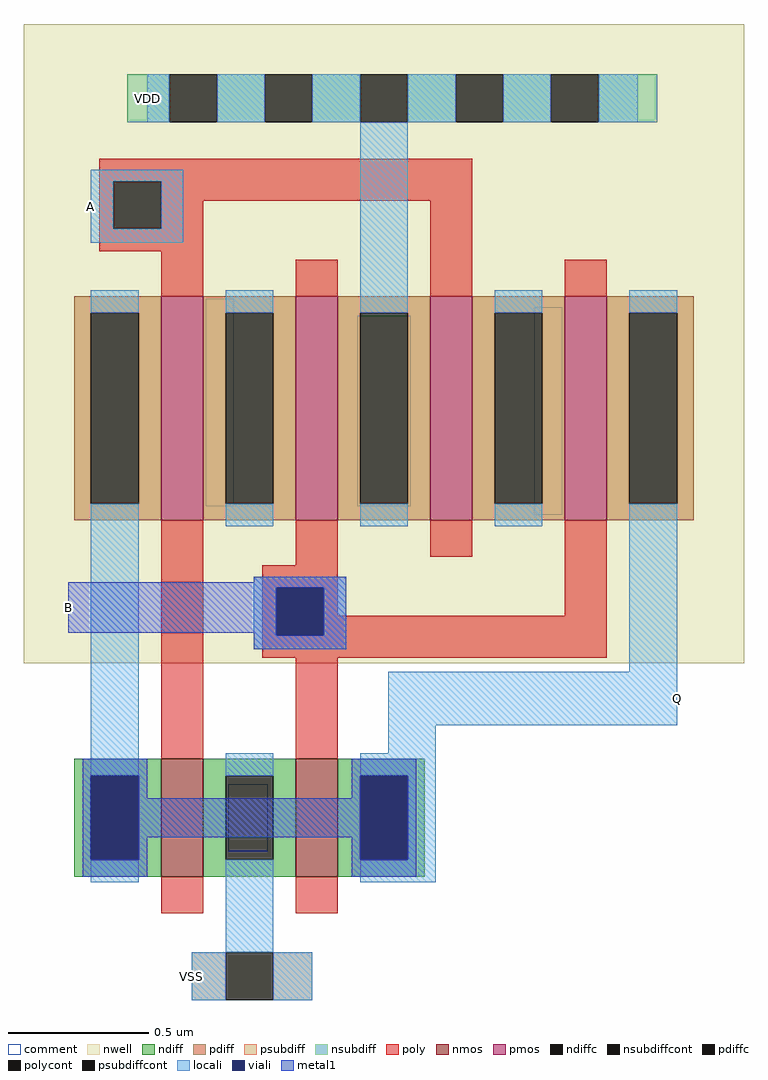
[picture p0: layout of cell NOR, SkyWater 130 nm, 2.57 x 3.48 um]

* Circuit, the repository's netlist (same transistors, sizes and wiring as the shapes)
* NGSPICE file created from NOR.ext - technology: sky130A

.subckt NOR B Q A VDD VSS
X0 a_312_106# A VDD VDD sky130_fd_pr__pfet_01v8 ad=2.64e+11p pd=2.26e+06u as=2.64e+11p ps=2.26e+06u w=800000u l=150000u
X1 VDD B a_120_106# VDD sky130_fd_pr__pfet_01v8 ad=0p pd=0u as=2.64e+11p ps=2.26e+06u w=800000u l=150000u
X2 Q B a_312_106# VDD sky130_fd_pr__pfet_01v8 ad=4.96e+11p pd=4.44e+06u as=0p ps=0u w=800000u l=150000u
X3 Q B VSS VSS sky130_fd_pr__nfet_01v8 ad=2.604e+11p pd=2.92e+06u as=1.386e+11p ps=1.5e+06u w=420000u l=150000u
X4 a_120_106# A Q VDD sky130_fd_pr__pfet_01v8 ad=0p pd=0u as=0p ps=0u w=800000u l=150000u
X5 VSS A Q VSS sky130_fd_pr__nfet_01v8 ad=0p pd=0u as=0p ps=0u w=420000u l=150000u
.ends

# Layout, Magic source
magic
tech sky130A
<< nwell >>
rect -4 2 253 230
<< nmos >>
rect 45 -74 60 -32
rect 93 -74 108 -32
<< pmos >>
rect 45 53 60 133
rect 93 53 108 133
rect 141 53 156 133
rect 189 53 204 133
<< ndiff >>
rect 14 -38 45 -32
rect 14 -68 20 -38
rect 37 -68 45 -38
rect 14 -74 45 -68
rect 60 -38 93 -32
rect 60 -68 68 -38
rect 85 -68 93 -38
rect 60 -74 93 -68
rect 108 -38 139 -32
rect 108 -68 116 -38
rect 133 -68 139 -38
rect 108 -74 139 -68
<< pdiff >>
rect 14 127 45 133
rect 14 59 20 127
rect 37 59 45 127
rect 14 53 45 59
rect 60 127 93 133
rect 60 59 68 127
rect 85 59 93 127
rect 60 53 93 59
rect 108 127 141 133
rect 108 59 116 127
rect 133 59 141 127
rect 108 53 141 59
rect 156 127 189 133
rect 156 59 164 127
rect 181 59 189 127
rect 156 53 189 59
rect 204 127 235 133
rect 204 59 212 127
rect 229 59 235 127
rect 204 53 235 59
<< ndiffc >>
rect 20 -68 37 -38
rect 68 -68 85 -38
rect 116 -68 133 -38
<< pdiffc >>
rect 20 59 37 127
rect 68 59 85 127
rect 116 59 133 127
rect 164 59 181 127
rect 212 59 229 127
<< psubdiff >>
rect 56 -118 68 -101
rect 85 -118 99 -101
<< nsubdiff >>
rect 33 195 48 212
rect 65 195 82 212
rect 99 195 116 212
rect 133 195 150 212
rect 167 195 184 212
rect 201 195 222 212
<< psubdiffcont >>
rect 68 -118 85 -101
<< nsubdiffcont >>
rect 48 195 65 212
rect 82 195 99 212
rect 116 195 133 212
rect 150 195 167 212
rect 184 195 201 212
<< poly >>
rect 23 174 156 182
rect 23 157 28 174
rect 45 167 156 174
rect 45 157 60 167
rect 23 149 60 157
rect 45 133 60 149
rect 93 133 108 146
rect 141 133 156 167
rect 189 133 204 146
rect 45 -32 60 53
rect 93 37 108 53
rect 141 40 156 53
rect 81 29 108 37
rect 81 12 86 29
rect 103 19 108 29
rect 189 19 204 53
rect 103 12 204 19
rect 81 4 204 12
rect 93 -32 108 4
rect 45 -87 60 -74
rect 93 -87 108 -74
<< polycont >>
rect 28 157 45 174
rect 86 12 103 29
<< locali >>
rect 40 195 48 212
rect 65 195 82 212
rect 99 195 116 212
rect 133 195 150 212
rect 167 195 184 212
rect 201 195 215 212
rect 20 174 53 178
rect 20 157 28 174
rect 45 157 53 174
rect 20 152 53 157
rect 20 127 37 135
rect 20 -38 37 59
rect 68 127 85 135
rect 68 51 85 59
rect 116 127 133 195
rect 116 51 133 59
rect 164 127 181 135
rect 164 51 181 59
rect 212 127 229 135
rect 78 29 111 33
rect 78 12 86 29
rect 103 12 111 29
rect 78 7 111 12
rect 212 -1 229 59
rect 126 -20 229 -1
rect 126 -30 143 -20
rect 20 -76 37 -68
rect 68 -38 85 -30
rect 68 -101 85 -68
rect 116 -38 143 -30
rect 133 -68 143 -38
rect 116 -76 143 -68
rect 56 -118 68 -101
rect 85 -118 99 -101
<< viali >>
rect 86 12 103 29
rect 20 -68 37 -38
rect 116 -68 133 -38
<< metal1 >>
rect 78 31 111 33
rect 12 29 111 31
rect 12 13 86 29
rect 78 12 86 13
rect 103 12 111 29
rect 78 7 111 12
rect 17 -38 40 -32
rect 17 -68 20 -38
rect 37 -46 40 -38
rect 113 -38 136 -32
rect 113 -46 116 -38
rect 37 -60 116 -46
rect 37 -68 40 -60
rect 17 -74 40 -68
rect 113 -68 116 -60
rect 133 -68 136 -38
rect 113 -74 136 -68
<< comment >>
rect 61 58 71 132
rect 115 58 134 126
rect 178 55 188 129
rect 69 -65 83 -41
<< labels >>
rlabel locali 40 195 40 212 7 VDD
port 1 w
rlabel locali 229 -20 229 -1 3 Q
port 7 e
rlabel metal1 12 13 12 31 7 B
port 6 w
rlabel locali 20 152 20 178 7 A
port 8 w
rlabel locali 56 -118 56 -101 7 VSS
port 4 w
<< end >>
